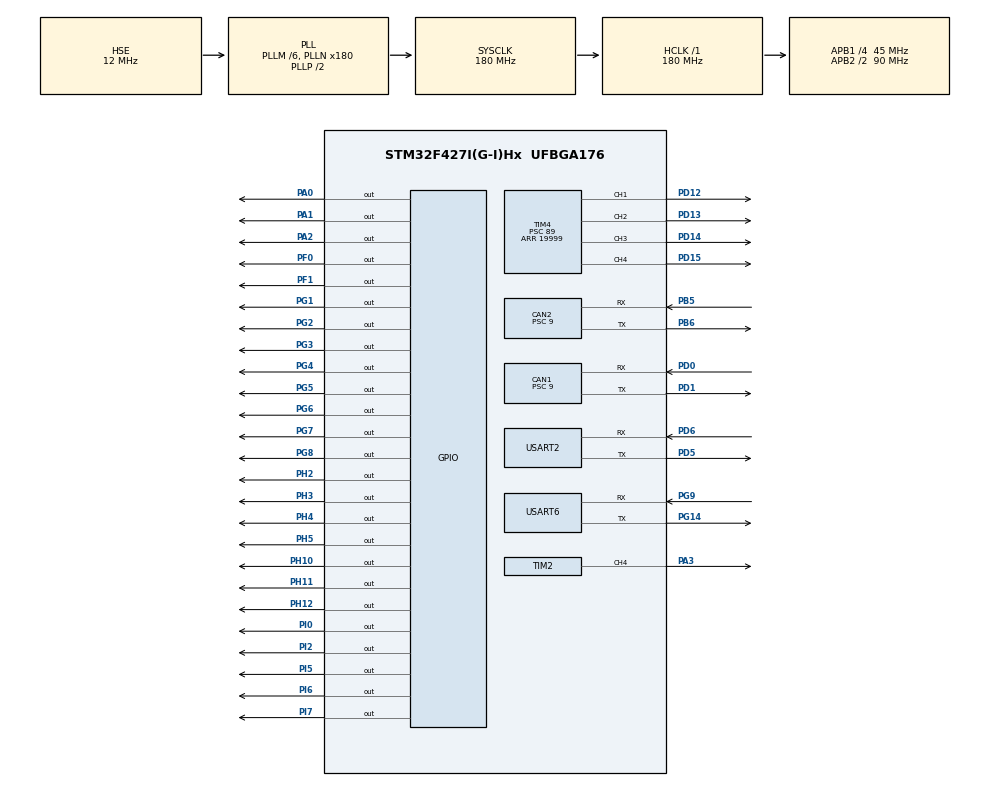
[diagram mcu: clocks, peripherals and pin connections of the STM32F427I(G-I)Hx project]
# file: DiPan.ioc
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CAN1.ABOM=ENABLE
CAN1.BS1=CAN_BS1_2TQ
CAN1.BS2=CAN_BS2_2TQ
CAN1.CalculateBaudRate=1000000
CAN1.CalculateTimeBit=1000
CAN1.CalculateTimeQuantum=200.0
CAN1.Prescaler=9
CAN2.ABOM=ENABLE
CAN2.BS1=CAN_BS1_2TQ
CAN2.BS2=CAN_BS2_2TQ
CAN2.CalculateBaudRate=1000000
CAN2.CalculateTimeBit=1000
CAN2.CalculateTimeQuantum=200.0
CAN2.Mode=CAN_MODE_NORMAL
CAN2.Prescaler=9
Dma.Request0=USART2_RX
Dma.Request1=USART2_TX
Dma.Request2=USART6_RX
Dma.Request3=USART6_TX
Dma.USART2_RX.0.Direction=DMA_PERIPH_TO_MEMORY
Dma.USART2_RX.0.FIFOMode=DMA_FIFOMODE_DISABLE
Dma.USART2_RX.0.Instance=DMA1_Stream5
Dma.USART2_RX.0.MemDataAlignment=DMA_MDATAALIGN_BYTE
Dma.USART2_RX.0.MemInc=DMA_MINC_ENABLE
Dma.USART2_RX.0.Mode=DMA_NORMAL
Dma.USART2_RX.0.PeriphDataAlignment=DMA_PDATAALIGN_BYTE
Dma.USART2_RX.0.PeriphInc=DMA_PINC_DISABLE
Dma.USART2_RX.0.Priority=DMA_PRIORITY_LOW
Dma.USART2_TX.1.Direction=DMA_MEMORY_TO_PERIPH
Dma.USART2_TX.1.FIFOMode=DMA_FIFOMODE_DISABLE
Dma.USART2_TX.1.Instance=DMA1_Stream6
Dma.USART2_TX.1.MemDataAlignment=DMA_MDATAALIGN_BYTE
Dma.USART2_TX.1.MemInc=DMA_MINC_ENABLE
Dma.USART2_TX.1.Mode=DMA_NORMAL
Dma.USART2_TX.1.PeriphDataAlignment=DMA_PDATAALIGN_BYTE
Dma.USART2_TX.1.PeriphInc=DMA_PINC_DISABLE
Dma.USART2_TX.1.Priority=DMA_PRIORITY_LOW
Dma.USART6_RX.2.Direction=DMA_PERIPH_TO_MEMORY
Dma.USART6_RX.2.FIFOMode=DMA_FIFOMODE_DISABLE
Dma.USART6_RX.2.Instance=DMA2_Stream1
Dma.USART6_RX.2.MemDataAlignment=DMA_MDATAALIGN_BYTE
Dma.USART6_RX.2.MemInc=DMA_MINC_ENABLE
Dma.USART6_RX.2.Mode=DMA_NORMAL
Dma.USART6_RX.2.PeriphDataAlignment=DMA_PDATAALIGN_BYTE
Dma.USART6_RX.2.PeriphInc=DMA_PINC_DISABLE
Dma.USART6_RX.2.Priority=DMA_PRIORITY_LOW
Dma.USART6_TX.3.Direction=DMA_MEMORY_TO_PERIPH
Dma.USART6_TX.3.FIFOMode=DMA_FIFOMODE_DISABLE
Dma.USART6_TX.3.Instance=DMA2_Stream6
Dma.USART6_TX.3.MemDataAlignment=DMA_MDATAALIGN_BYTE
Dma.USART6_TX.3.MemInc=DMA_MINC_ENABLE
Dma.USART6_TX.3.Mode=DMA_NORMAL
Dma.USART6_TX.3.PeriphDataAlignment=DMA_PDATAALIGN_BYTE
Dma.USART6_TX.3.PeriphInc=DMA_PINC_DISABLE
Dma.USART6_TX.3.Priority=DMA_PRIORITY_LOW
Mcu.Family=STM32F4
Mcu.Name=STM32F427I(G-I)Hx
Mcu.Package=UFBGA176
NVIC.CAN1_RX0_IRQn=true\:0\:0\:false\:false\:true\:true\:true\:true
NVIC.CAN1_RX1_IRQn=true\:0\:0\:false\:false\:true\:true\:true\:true
NVIC.CAN2_RX0_IRQn=true\:0\:0\:false\:false\:true\:true\:true\:true
NVIC.CAN2_RX1_IRQn=true\:0\:0\:false\:false\:true\:true\:true\:true
NVIC.DMA1_Stream5_IRQn=true\:0\:0\:false\:false\:true\:false\:true\:true
NVIC.DMA1_Stream6_IRQn=true\:0\:0\:false\:false\:true\:false\:true\:true
NVIC.DMA2_Stream1_IRQn=true\:0\:0\:false\:false\:true\:false\:true\:true
NVIC.DMA2_Stream6_IRQn=true\:0\:0\:false\:false\:true\:false\:true\:true
NVIC.PriorityGroup=NVIC_PRIORITYGROUP_4
NVIC.USART2_IRQn=true\:0\:0\:false\:false\:true\:true\:true\:true
NVIC.USART6_IRQn=true\:0\:0\:false\:false\:true\:true\:true\:true
PA0/WKUP.GPIO_ModeDefaultOutputPP=GPIO_MODE_OUTPUT_OD
PA0/WKUP.GPIO_PuPd=GPIO_PULLUP
PA0/WKUP.Signal=GPIO_Output
PA1.GPIO_ModeDefaultOutputPP=GPIO_MODE_OUTPUT_OD
PA1.GPIO_PuPd=GPIO_PULLUP
PA1.GPIO_Speed=GPIO_SPEED_FREQ_LOW
PA1.Signal=GPIO_Output
PA13.Mode=Serial_Wire
PA13.Signal=SYS_JTMS-SWDIO
PA14.Mode=Serial_Wire
PA14.Signal=SYS_JTCK-SWCLK
PA2.Signal=GPIO_Output
PA3.Signal=S_TIM2_CH4
PB5.Mode=CAN_Activate
PB5.Signal=CAN2_RX
PB6.Mode=CAN_Activate
PB6.Signal=CAN2_TX
PD0.Mode=CAN_Activate
PD0.Signal=CAN1_RX
PD1.Mode=CAN_Activate
PD1.Signal=CAN1_TX
PD12.Signal=S_TIM4_CH1
PD13.Signal=S_TIM4_CH2
PD14.Signal=S_TIM4_CH3
PD15.Signal=S_TIM4_CH4
PD5.Mode=Asynchronous
PD5.Signal=USART2_TX
PD6.Mode=Asynchronous
PD6.Signal=USART2_RX
PF0.GPIO_ModeDefaultOutputPP=GPIO_MODE_OUTPUT_OD
PF0.GPIO_PuPd=GPIO_PULLUP
PF0.GPIO_Speed=GPIO_SPEED_FREQ_LOW
PF0.PinState=GPIO_PIN_SET
PF0.Signal=GPIO_Output
PF1.GPIO_ModeDefaultOutputPP=GPIO_MODE_OUTPUT_OD
PF1.GPIO_PuPd=GPIO_PULLUP
PF1.GPIO_Speed=GPIO_SPEED_FREQ_LOW
PF1.PinState=GPIO_PIN_SET
PF1.Signal=GPIO_Output
PG1.GPIO_PuPd=GPIO_PULLUP
PG1.PinState=GPIO_PIN_RESET
PG1.Signal=GPIO_Output
PG14.Mode=Asynchronous
PG14.Signal=USART6_TX
PG2.GPIO_PuPd=GPIO_PULLUP
PG2.PinState=GPIO_PIN_RESET
PG2.Signal=GPIO_Output
PG3.GPIO_PuPd=GPIO_PULLUP
PG3.PinState=GPIO_PIN_RESET
PG3.Signal=GPIO_Output
PG4.GPIO_PuPd=GPIO_PULLUP
PG4.PinState=GPIO_PIN_RESET
PG4.Signal=GPIO_Output
PG5.GPIO_PuPd=GPIO_PULLUP
PG5.PinState=GPIO_PIN_RESET
PG5.Signal=GPIO_Output
PG6.GPIO_PuPd=GPIO_PULLUP
PG6.PinState=GPIO_PIN_RESET
PG6.Signal=GPIO_Output
PG7.GPIO_PuPd=GPIO_PULLUP
PG7.PinState=GPIO_PIN_RESET
PG7.Signal=GPIO_Output
PG8.GPIO_PuPd=GPIO_PULLUP
PG8.PinState=GPIO_PIN_RESET
PG8.Signal=GPIO_Output
PG9.Mode=Asynchronous
PG9.Signal=USART6_RX
PH0/OSC_IN.Mode=HSE-External-Oscillator
PH0/OSC_IN.Signal=RCC_OSC_IN
PH1/OSC_OUT.Mode=HSE-External-Oscillator
PH1/OSC_OUT.Signal=RCC_OSC_OUT
PH10.Signal=GPIO_Output
PH11.Signal=GPIO_Output
PH12.Signal=GPIO_Output
PH2.Signal=GPIO_Output
PH3.Signal=GPIO_Output
PH4.Signal=GPIO_Output
PH5.Signal=GPIO_Output
PI0.PinState=GPIO_PIN_SET
PI0.Signal=GPIO_Output
PI2.PinState=GPIO_PIN_SET
PI2.Signal=GPIO_Output
PI5.Signal=GPIO_Output
PI6.Signal=GPIO_Output
PI7.Signal=GPIO_Output
ProjectManager.HeapSize=0x200
ProjectManager.StackSize=0x400
ProjectManager.TargetToolchain=CMake
RCC.48MHZClocksFreq_Value=90000000
RCC.AHBFreq_Value=180000000
RCC.APB1CLKDivider=RCC_HCLK_DIV4
RCC.APB1Freq_Value=45000000
RCC.APB1TimFreq_Value=90000000
RCC.APB2CLKDivider=RCC_HCLK_DIV2
RCC.APB2Freq_Value=90000000
RCC.APB2TimFreq_Value=180000000
RCC.CortexFreq_Value=180000000
RCC.HCLKFreq_Value=180000000
RCC.HSE_VALUE=12000000
RCC.HSI_VALUE=16000000
RCC.LSE_VALUE=32768
RCC.PLLM=6
RCC.PLLN=180
RCC.PLLSourceVirtual=RCC_PLLSOURCE_HSE
RCC.SYSCLKFreq_VALUE=180000000
RCC.SYSCLKSource=RCC_SYSCLKSOURCE_PLLCLK
RCC.VCOOutputFreq_Value=360000000
SH.S_TIM2_CH4.0=TIM2_CH4,PWM Generation4 CH4
SH.S_TIM4_CH1.0=TIM4_CH1,PWM Generation1 CH1
SH.S_TIM4_CH2.0=TIM4_CH2,PWM Generation2 CH2
SH.S_TIM4_CH3.0=TIM4_CH3,PWM Generation3 CH3
SH.S_TIM4_CH4.0=TIM4_CH4,PWM Generation4 CH4
TIM2.Channel-PWM\ Generation4\ CH4=TIM_CHANNEL_4
TIM2.Period=19999
TIM2.Prescaler=89
TIM2.Pulse-PWM\ Generation4\ CH4=2000
TIM4.Channel-PWM\ Generation1\ CH1=TIM_CHANNEL_1
TIM4.Channel-PWM\ Generation2\ CH2=TIM_CHANNEL_2
TIM4.Channel-PWM\ Generation3\ CH3=TIM_CHANNEL_3
TIM4.Channel-PWM\ Generation4\ CH4=TIM_CHANNEL_4
TIM4.Period=19999
TIM4.Prescaler=89
TIM4.Pulse-PWM\ Generation1\ CH1=2000
TIM4.Pulse-PWM\ Generation2\ CH2=2000
TIM4.Pulse-PWM\ Generation3\ CH3=2000
TIM4.Pulse-PWM\ Generation4\ CH4=2000
USART2.VirtualMode=VM_ASYNC
USART6.VirtualMode=VM_ASYNC
VP_TIM2_VS_ClockSourceINT.Mode=Internal
VP_TIM4_VS_ClockSourceINT.Mode=Internal
board=custom

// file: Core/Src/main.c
/* USER CODE BEGIN Header */
/**
  ******************************************************************************
  * @file           : main.c
  * @brief          : Main program body
  ******************************************************************************
  * @attention
  *
  * Copyright (c) 2024 STMicroelectronics.
  * All rights reserved.
  *
  * This software is licensed under terms that can be found in the LICENSE file
  * in the root directory of this software component.
  * If no LICENSE file comes with this software, it is provided AS-IS.
  *
  ******************************************************************************
  */
/* USER CODE END Header */
#include "main.h"
#include "can.h"
#include "dma.h"
#include "tim.h"
#include "usart.h"
#include "gpio.h"

/* USER CODE BEGIN Includes */
#include "drv_bsp.h"
#include "drv_uart.h"
#include "drv_can.h"
#include "alg_pid.h"
#include "drv_communication.h"
#include "drv_act.h"
#include "drv_motion.h"
#include "dvc_motor.h"
#include "OLED.h"
#include "MPU6050.h"
#include "IMU.h"
#include "TIMER.h"

/* USER CODE END Includes */

/* USER CODE BEGIN PM */
struct Class_Motor_C620 motor1;
struct Class_Motor_C620 motor2;
struct Class_Motor_C620 motor3;
struct Class_Motor_C620 motor4;
struct Class_Motor_C620 motor5;
struct Class_Motor_C620 motor6;
struct Class_Motor_C620 motor7;
struct Class_Motor_C620 motor8;
struct Class_Motor_C620 claw_lift_motor;
/* USER CODE END PM */

void SystemClock_Config(void);

/* USER CODE BEGIN 0 */
/**
 * @brief CAN报文回调函数
 *
 * @param Rx_Buffer CAN接收的信息结构体
 */

/* USER CODE END 0 */

int main(void)
{

  /* MCU Configuration--------------------------------------------------------*/

  /* Reset of all peripherals, Initializes the Flash interface and the Systick. */
  HAL_Init();

  /* USER CODE BEGIN Init */
  OLED_Init();
	MPU6050_Init();
	Timer_Init();
	OLED_ShowString(1, 1, "Pitch:");
	OLED_ShowString(2, 2, "Roll:");
	OLED_ShowString(3, 3, "Yaw:");

  /* USER CODE END Init */

  /* Configure the system clock */
  SystemClock_Config();

  /* Initialize all configured peripherals */
  MX_GPIO_Init();
  MX_DMA_Init();
  MX_CAN1_Init();
  MX_USART2_UART_Init();
  MX_TIM4_Init();
  MX_CAN2_Init();
  MX_USART6_UART_Init();
  MX_TIM2_Init();
  /* USER CODE BEGIN 2 */
HAL_TIM_PWM_Start(&htim2,TIM_CHANNEL_4);
HAL_TIM_PWM_Start(&htim4,TIM_CHANNEL_4);
HAL_TIM_PWM_Start(&htim4,TIM_CHANNEL_3);

Uart_Init(&huart2, rx_buffer, 10, MoveOrder_Call_Back);
BSP_Init(BSP_DC24_LU_ON | BSP_DC24_LD_ON | BSP_DC24_RU_ON | BSP_DC24_RD_ON);
CAN_Init(&hcan1, CAN_Motor_Call_Back);
CAN_Init(&hcan2, CAN_Motor_Call_Back);
CAN_Filter_Mask_Config(&hcan1, CAN_FILTER(0) | CAN_FIFO_1 | CAN_STDID | CAN_DATA_TYPE, 0, 0);
CAN_Filter_Mask_Config(&hcan2, CAN_FILTER(14) | CAN_FIFO_1 | CAN_STDID | CAN_DATA_TYPE, 0, 0);

motor1.PID_Angle.Init(100.0f, 0.0f, 0.0f, 0.0f, 15.0f * PI, 15.0f * PI);
motor1.PID_Omega.Init(100.0f, 0.0f, 0.0f, 0.0f, 2500.0f, 2500.0f);
motor1.Init(&hcan1, CAN_Motor_ID_0x201, Control_Method_OMEGA, 1.0f);

motor2.PID_Angle.Init(100.0f, 0.0f, 0.0f, 0.0f, 15.0f * PI, 15.0f * PI);
motor2.PID_Omega.Init(100.0f, 0.0f, 0.0f, 0.0f, 2500.0f, 2500.0f);
motor2.Init(&hcan1, CAN_Motor_ID_0x202, Control_Method_OMEGA, 1.0f);

motor3.PID_Angle.Init(100.0f, 0.0f, 0.0f, 0.0f, 15.0f * PI, 15.0f * PI);
motor3.PID_Omega.Init(100.0f, 0.0f, 0.0f, 0.0f, 2500.0f, 2500.0f);
motor3.Init(&hcan1, CAN_Motor_ID_0x203, Control_Method_OMEGA, 1.0f);

motor4.PID_Angle.Init(100.0f, 0.0f, 0.0f, 0.0f, 15.0f * PI, 20.0f * PI);
motor4.PID_Omega.Init(100.0f, 0.0f, 0.0f, 0.0f, 2500.0f, 2500.0f);
motor4.Init(&hcan1, CAN_Motor_ID_0x204, Control_Method_OMEGA, 1.0f);

motor5.PID_Angle.Init(100.0f, 0.0f, 0.0f, 0.0f, 15.0f * PI, 20.0f * PI);
motor5.PID_Omega.Init(100.0f, 0.0f, 0.0f, 0.0f, 2500.0f, 2500.0f);
motor5.Init(&hcan1, CAN_Motor_ID_0x205, Control_Method_OMEGA, 1.0f);

motor6.PID_Angle.Init(100.0f, 0.0f, 0.0f, 0.0f, 15.0f * PI, 20.0f * PI);
motor6.PID_Omega.Init(100.0f, 0.0f, 0.0f, 0.0f, 2500.0f, 2500.0f);
motor6.Init(&hcan1, CAN_Motor_ID_0x206, Control_Method_OMEGA, 1.0f);

motor7.PID_Angle.Init(100.0f, 0.0f, 0.0f, 0.0f, 15.0f * PI, 20.0f * PI);
motor7.PID_Omega.Init(100.0f, 0.0f, 0.0f, 0.0f, 2500.0f, 2500.0f);
motor7.Init(&hcan1, CAN_Motor_ID_0x207, Control_Method_OMEGA, 1.0f);

motor8.PID_Angle.Init(100.0f, 0.0f, 0.0f, 0.0f, 15.0f * PI, 20.0f * PI);
motor8.PID_Omega.Init(100.0f, 0.0f, 0.0f, 0.0f, 2500.0f, 2500.0f);
motor8.Init(&hcan1, CAN_Motor_ID_0x208, Control_Method_ANGLE, 1.0f);

  /* USER CODE END 2 */

  /* Infinite loop */
  while (1)
  {

  }
}

void SystemClock_Config(void)
{
  RCC_OscInitTypeDef RCC_OscInitStruct = {0};
  RCC_ClkInitTypeDef RCC_ClkInitStruct = {0};

  /** Configure the main internal regulator output voltage
  */
  __HAL_RCC_PWR_CLK_ENABLE();
  __HAL_PWR_VOLTAGESCALING_CONFIG(PWR_REGULATOR_VOLTAGE_SCALE1);

  /** Initializes the RCC Oscillators according to the specified parameters
  * in the RCC_OscInitTypeDef structure.
  */
  RCC_OscInitStruct.OscillatorType = RCC_OSCILLATORTYPE_HSE;
  RCC_OscInitStruct.HSEState = RCC_HSE_ON;
  RCC_OscInitStruct.PLL.PLLState = RCC_PLL_ON;
  RCC_OscInitStruct.PLL.PLLSource = RCC_PLLSOURCE_HSE;
  RCC_OscInitStruct.PLL.PLLM = 6;
  RCC_OscInitStruct.PLL.PLLN = 180;
  RCC_OscInitStruct.PLL.PLLP = RCC_PLLP_DIV2;
  RCC_OscInitStruct.PLL.PLLQ = 4;
  if (HAL_RCC_OscConfig(&RCC_OscInitStruct) != HAL_OK)
  {
    Error_Handler();
  }

  /** Activate the Over-Drive mode
  */
  if (HAL_PWREx_EnableOverDrive() != HAL_OK)
  {
    Error_Handler();
  }

  /** Initializes the CPU, AHB and APB buses clocks
  */
  RCC_ClkInitStruct.ClockType = RCC_CLOCKTYPE_HCLK|RCC_CLOCKTYPE_SYSCLK
                              |RCC_CLOCKTYPE_PCLK1|RCC_CLOCKTYPE_PCLK2;
  RCC_ClkInitStruct.SYSCLKSource = RCC_SYSCLKSOURCE_PLLCLK;
  RCC_ClkInitStruct.AHBCLKDivider = RCC_SYSCLK_DIV1;
  RCC_ClkInitStruct.APB1CLKDivider = RCC_HCLK_DIV4;
  RCC_ClkInitStruct.APB2CLKDivider = RCC_HCLK_DIV2;

  if (HAL_RCC_ClockConfig(&RCC_ClkInitStruct, FLASH_LATENCY_5) != HAL_OK)
  {
    Error_Handler();
  }
}

void Error_Handler(void)
{
  __disable_irq();
  while (1)
  {
  }
}
